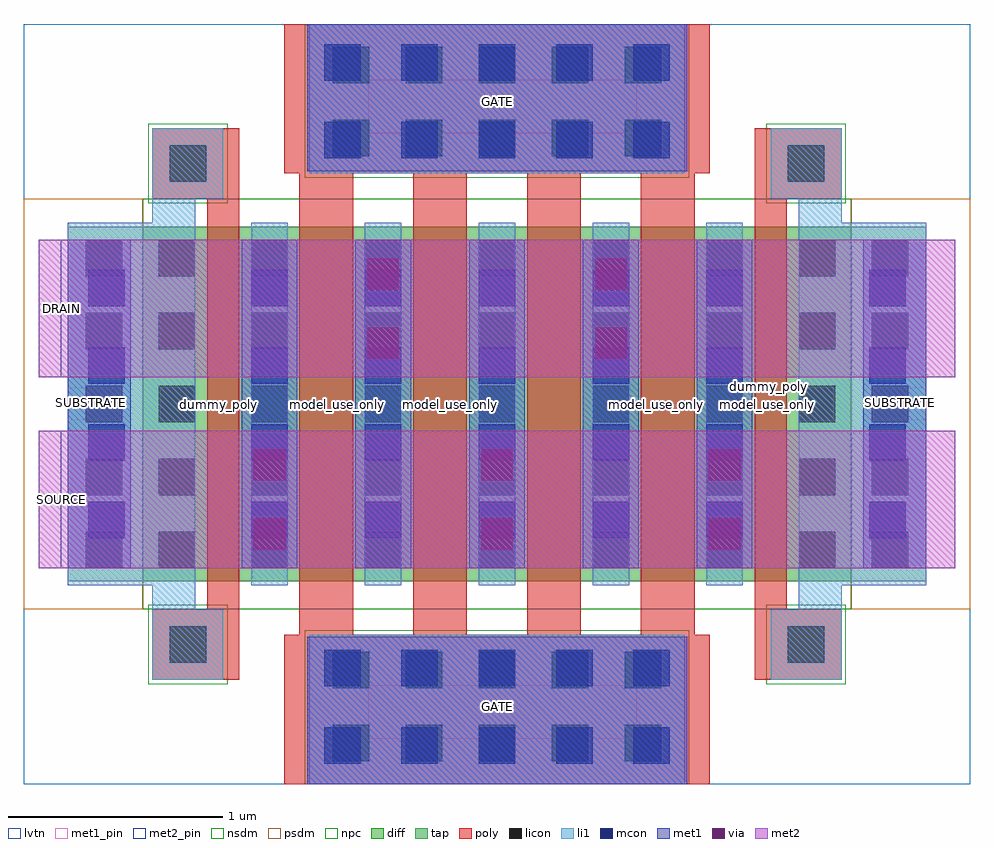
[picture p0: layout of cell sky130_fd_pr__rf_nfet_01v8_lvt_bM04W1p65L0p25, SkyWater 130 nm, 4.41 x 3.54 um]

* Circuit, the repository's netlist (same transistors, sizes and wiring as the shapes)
* Copyright 2020 The SkyWater PDK Authors
*
* Licensed under the Apache License, Version 2.0 (the "License");
* you may not use this file except in compliance with the License.
* You may obtain a copy of the License at
*
*     https://www.apache.org/licenses/LICENSE-2.0
*
* Unless required by applicable law or agreed to in writing, software
* distributed under the License is distributed on an "AS IS" BASIS,
* WITHOUT WARRANTIES OR CONDITIONS OF ANY KIND, either express or implied.
* See the License for the specific language governing permissions and
* limitations under the License.
*
* SPDX-License-Identifier: Apache-2.0


.subckt sky130_fd_pr__rf_nfet_01v8_lvt_bM04W1p65L0p25 DRAIN GATE SOURCE SUBSTRATE
X0 SUBSTRATE SUBSTRATE SOURCE SUBSTRATE sky130_fd_pr__nfet_01v8_lvt w=1.65e+06u l=150000u
X1 SOURCE SUBSTRATE SUBSTRATE SUBSTRATE sky130_fd_pr__nfet_01v8_lvt w=1.65e+06u l=150000u
X2 DRAIN GATE SOURCE SUBSTRATE sky130_fd_pr__nfet_01v8_lvt w=1.65e+06u l=250000u
X3 SOURCE GATE DRAIN SUBSTRATE sky130_fd_pr__nfet_01v8_lvt w=1.65e+06u l=250000u
X4 DRAIN GATE SOURCE SUBSTRATE sky130_fd_pr__nfet_01v8_lvt w=1.65e+06u l=250000u
X5 SOURCE GATE DRAIN SUBSTRATE sky130_fd_pr__nfet_01v8_lvt w=1.65e+06u l=250000u
.ends

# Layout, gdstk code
import gdstk
lib = gdstk.Library(unit=1e-6, precision=1e-09)
def R(c, l, rs):  # rectangles x0, y0, x1, y1
    for r in rs: c.add(gdstk.rectangle(r[:2], r[2:], *l))
def A(c, l, x, y, w, h, nx, ny, dx, dy):  # array of equal rectangles
    R(c, l, [(x+i*dx, y+j*dy, x+i*dx+w, y+j*dy+h) for i in range(nx) for j in range(ny)])
diff = (65, 20)
tap = (65, 44)
poly = (66, 20)
licon = (66, 44)
li1 = (67, 20)
mcon = (67, 44)
met1_pin = (68, 16)
met1 = (68, 20)
via = (68, 44)
met2_pin = (69, 16)
met2 = (69, 20)
nsdm = (93, 44)
psdm = (94, 20)
npc = (95, 20)
lvtn = (125, 44)

sky130_fd_pr__rf_nfet_01 = lib.new_cell('sky130_fd_pr__rf_nfet_01v8_lvt_bM04W1p65L0p25')
R(sky130_fd_pr__rf_nfet_01, diff, [(0.555,0.945,3.855,2.595)])
R(sky130_fd_pr__rf_nfet_01, tap, [(0.205,0.945,0.555,2.595), (3.855,0.945,4.205,2.595)])
A(sky130_fd_pr__rf_nfet_01, poly, 1.285, 0.695, 0.25, 2.15, 4, 1, 0.53, 0)
R(sky130_fd_pr__rf_nfet_01, poly, [(1.215,0,3.195,0.695), (0.6,0.485,0.93,0.815), (0.855,0.485,1.005,3.055), (3.405,0.485,3.555,3.055), (3.48,0.485,3.81,0.815), (0.6,2.725,0.93,3.055), (3.48,2.725,3.81,3.055), (1.215,2.845,3.195,3.54)])
A(sky130_fd_pr__rf_nfet_01, licon, 1.44, 0.105, 0.17, 0.17, 5, 2, 0.34, 0.34)
A(sky130_fd_pr__rf_nfet_01, licon, 0.29, 1.005, 0.17, 0.17, 1, 5, 0, 0.34)
A(sky130_fd_pr__rf_nfet_01, licon, 0.63, 1.005, 0.17, 0.17, 1, 5, 0, 0.34)
A(sky130_fd_pr__rf_nfet_01, licon, 1.06, 1.005, 0.17, 0.17, 3, 1, 0.53, 0)
A(sky130_fd_pr__rf_nfet_01, licon, 2.12, 1.005, 0.17, 0.17, 3, 1, 0.53, 0)
A(sky130_fd_pr__rf_nfet_01, licon, 3.61, 1.005, 0.17, 0.17, 1, 5, 0, 0.34)
A(sky130_fd_pr__rf_nfet_01, licon, 3.95, 1.005, 0.17, 0.17, 1, 5, 0, 0.34)
A(sky130_fd_pr__rf_nfet_01, licon, 1.06, 1.345, 0.17, 0.17, 5, 4, 0.53, 0.34)
A(sky130_fd_pr__rf_nfet_01, licon, 1.44, 2.925, 0.17, 0.17, 5, 2, 0.34, 0.34)
R(sky130_fd_pr__rf_nfet_01, licon, [(0.68,0.565,0.85,0.735), (3.56,0.565,3.73,0.735), (1.06,1.005,1.23,1.175), (3.18,1.005,3.35,1.175), (0.68,2.805,0.85,2.975), (3.56,2.805,3.73,2.975)])
A(sky130_fd_pr__rf_nfet_01, li1, 1.06, 0.925, 0.17, 1.69, 5, 1, 0.53, 0)
R(sky130_fd_pr__rf_nfet_01, li1, [(1.33,0,3.08,0.695), (0.6,0.485,0.93,0.815), (3.48,0.485,3.81,0.815), (0.6,0.815,0.8,0.925), (3.61,0.815,3.81,0.925), (0.205,0.925,0.8,2.615), (3.61,0.925,4.205,2.615), (0.6,2.615,0.8,2.725), (3.61,2.615,3.81,2.725), (0.6,2.725,0.93,3.055), (3.48,2.725,3.81,3.055), (1.33,2.845,3.08,3.54)])
A(sky130_fd_pr__rf_nfet_01, mcon, 1.4, 0.095, 0.17, 0.17, 5, 2, 0.36, 0.36)
A(sky130_fd_pr__rf_nfet_01, mcon, 0.3, 1.145, 0.17, 0.17, 1, 4, 0, 0.36)
A(sky130_fd_pr__rf_nfet_01, mcon, 1.06, 1.145, 0.17, 0.17, 5, 4, 0.53, 0.36)
A(sky130_fd_pr__rf_nfet_01, mcon, 3.94, 1.145, 0.17, 0.17, 1, 4, 0, 0.36)
A(sky130_fd_pr__rf_nfet_01, mcon, 1.4, 2.915, 0.17, 0.17, 5, 2, 0.36, 0.36)
R(sky130_fd_pr__rf_nfet_01, met1_pin, [(1.605,0.21,2.855,0.46), (0.205,1.695,0.435,1.845), (3.975,1.695,4.205,1.845), (1.605,3.03,2.855,3.28)])
A(sky130_fd_pr__rf_nfet_01, met1, 1.015, 1.005, 0.26, 1.53, 5, 1, 0.53, 0)
R(sky130_fd_pr__rf_nfet_01, met1, [(1.32,0,3.09,0.685), (0.205,1.005,0.5,2.535), (3.91,1.005,4.205,2.535), (1.32,2.855,3.09,3.54)])
A(sky130_fd_pr__rf_nfet_01, via, 1.07, 1.09, 0.15, 0.15, 3, 2, 1.06, 0.32)
R(sky130_fd_pr__rf_nfet_01, via, [(1.6,1.98,1.75,2.13), (2.66,1.98,2.81,2.13), (1.6,2.3,1.75,2.45), (2.66,2.3,2.81,2.45)])
R(sky130_fd_pr__rf_nfet_01, met2_pin, [(0.07,1.005,0.175,1.645), (0.07,1.895,0.175,2.535)])
R(sky130_fd_pr__rf_nfet_01, met2, [(0.07,1.005,4.34,1.645), (0.07,1.895,4.34,2.535)])
R(sky130_fd_pr__rf_nfet_01, nsdm, [(0.555,0.815,3.855,2.725)])
R(sky130_fd_pr__rf_nfet_01, psdm, [(0,0.815,0.555,2.725), (3.855,0.815,4.41,2.725)])
R(sky130_fd_pr__rf_nfet_01, npc, [(1.31,0,3.1,0.715), (0.58,0.465,0.95,0.835), (3.46,0.465,3.83,0.835), (0.58,2.705,0.95,3.075), (3.46,2.705,3.83,3.075), (1.31,2.825,3.1,3.54)])
R(sky130_fd_pr__rf_nfet_01, lvtn, [(0,0,4.41,3.54)])
sky130_fd_pr__rf_nfet_01.add(gdstk.Label('dummy_poly', (3.47,1.85), layer=83, texttype=44))
sky130_fd_pr__rf_nfet_01.add(gdstk.Label('dummy_poly', (0.91,1.77), layer=83, texttype=44))
sky130_fd_pr__rf_nfet_01.add(gdstk.Label('GATE', (2.205,3.18), layer=68, texttype=5))
sky130_fd_pr__rf_nfet_01.add(gdstk.Label('GATE', (2.205,0.36), layer=68, texttype=5))
sky130_fd_pr__rf_nfet_01.add(gdstk.Label('SUBSTRATE', (0.315,1.775), layer=68, texttype=16))
sky130_fd_pr__rf_nfet_01.add(gdstk.Label('SUBSTRATE', (4.085,1.775), layer=68, texttype=16))
sky130_fd_pr__rf_nfet_01.add(gdstk.Label('model_use_only', (0.905,1.77), layer=66, texttype=83))
sky130_fd_pr__rf_nfet_01.add(gdstk.Label('model_use_only', (3.465,1.77), layer=66, texttype=83))
sky130_fd_pr__rf_nfet_01.add(gdstk.Label('model_use_only', (1.46,1.77), layer=66, texttype=83))
sky130_fd_pr__rf_nfet_01.add(gdstk.Label('model_use_only', (1.99,1.77), layer=66, texttype=83))
sky130_fd_pr__rf_nfet_01.add(gdstk.Label('model_use_only', (2.95,1.77), layer=66, texttype=83))
sky130_fd_pr__rf_nfet_01.add(gdstk.Label('model_use_only', (2.42,1.77), layer=66, texttype=83))
sky130_fd_pr__rf_nfet_01.add(gdstk.Label('SOURCE', (0.175,1.325), layer=69, texttype=5))
sky130_fd_pr__rf_nfet_01.add(gdstk.Label('DRAIN', (0.175,2.215), layer=69, texttype=5))

lib.write_gds('sky130_fd_pr__rf_nfet_01v8_lvt_bM04W1p65L0p25.gds')
